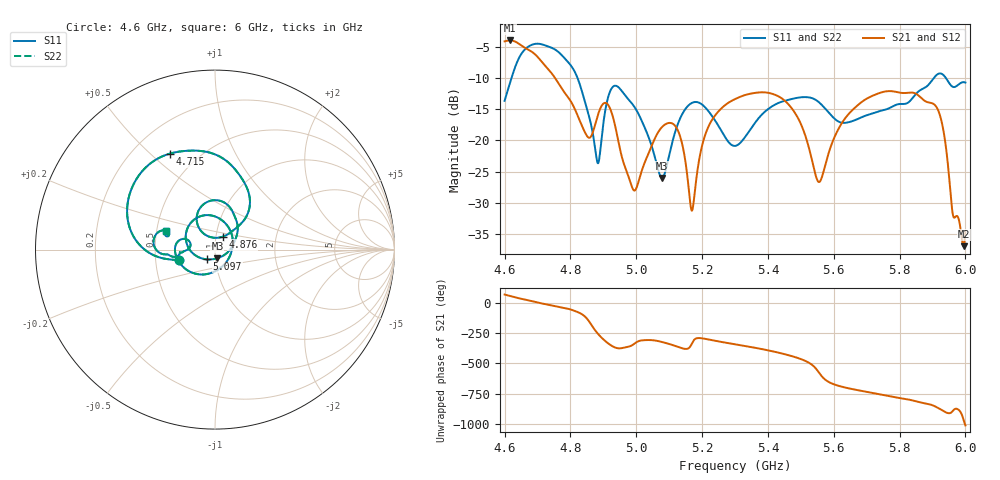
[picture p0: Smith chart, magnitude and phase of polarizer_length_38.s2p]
! TOUCHSTONE file generated by CST MICROWAVE STUDIO
! Date and time: Sun Dec  1 17:16:55 2024
! Project name: test_tuning.cst
! Parameters = {airCoaxOuterDiameter=3; chamferAngle=45; chamferWidth=24; connectorLength=10; drillingHoleDiameter=4.1; feedLength=60; flareDiameter=130; flareLength=70; gratingDistance=0; gratingGap=1.90274; outletLength=30; polarizerLength=138; probe1Diameter=1.3; probe1Distance=14; probe1Length=1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
! Header version: 2024
! Port assignment regex: !\s*Touchstone port\s*([0-9]+)\s*=\s*(CST MWS port|CST DES external port|CST DES block port)\s*(.+)\s* \(\"(.*)\"\)(\s*mode\s*([0-9]+))?.*
! Touchstone port assignment:
! Touchstone port 1 = CST MWS port 1 ("Input1")
! Touchstone port 2 = CST MWS port 2 ("Input2")
# GHz S MA R 50
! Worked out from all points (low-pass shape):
!   1001 points, 4.6 GHz to 6 GHz, reference 50 ohm
!   highest |S21| = -3.91 dB at 4.617 GHz (marker M1); lowest = -37.0 dB at 5.994 GHz (marker M2)
!   |S21| within 3 dB of the highest: start of sweep to 4.706 GHz
!   lowest |S11| = -26.0 dB at 5.079 GHz (marker M3), VSWR 1.11, Z = 51.1 - j4.93 ohm
!   |S11| at or under -10 dB: start of sweep to 4.62065 GHz; 4.822 GHz to 5.903 GHz (1.082 GHz wide, 20.2 % of centre); 5.941 GHz to end of sweep
!   |S22| runs from -26.0 to -4.4 dB; largest |S21 - S12| = 1.2e-06
!   S11 on the Smith chart (normalised r, x): 4.6 GHz: 0.66, -0.08; 4.715 GHz: 0.35, +0.58; 4.876 GHz: 1.08, +0.16; 5.097 GHz: 0.91, -0.10; 6 GHz: 0.56, +0.13
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4.6  0.2084 -163.8  0.6268 67.5  0.6268 67.5  0.2084 -163.8
4.6168  0.2931 -170.4  0.6373 55.9  0.6373 55.9  0.2931 -170.4
4.7148  0.5913 115.4  0.4227 -6.6  0.4227 -6.6  0.5913 115.4
4.8338  0.2545 46.6  0.1333 -92.8  0.1333 -92.8  0.2545 46.6
4.8758  0.08307 59.4  0.1362 130.2  0.1362 130.2  0.08307 59.4
4.9402  0.2743 85.2  0.1158 -12.7  0.1158 -12.7  0.2743 85.2
4.9948  0.1855 47.5  0.03951 23.7  0.03951 23.7  0.1855 47.5
5.0676  0.05675 -36.7  0.1177 43.5  0.1177 43.5  0.05675 -36.7
5.0788  0.04994 -74.3  0.1286 36.3  0.1286 36.3  0.04994 -74.3
5.097  0.07022 -129.1  0.1379 22.9  0.1379 22.9  0.07022 -129.1
5.1348  0.1535 172.8  0.1045 -11.4  0.1045 -11.4  0.1535 172.8
5.1698  0.2008 132.6  0.02729 28.5  0.02729 28.5  0.2008 132.6
5.216  0.1762 82.9  0.1233 59.2  0.1233 59.2  0.1762 82.9
5.3  0.09037 -26.5  0.215 17.6  0.215 17.6  0.09037 -26.5
5.447  0.2068 -156.5  0.2133 -61.0  0.2133 -61.0  0.2068 -156.5
5.5338  0.2191 172.1  0.06956 -150.9  0.06956 -150.9  0.2191 172.1
5.5576  0.2001 163.8  0.04659 135.6  0.04659 135.6  0.2001 163.8
5.6374  0.1388 172.4  0.1541 19.9  0.1541 19.9  0.1388 172.4
5.7676  0.1812 -175.5  0.2494 -48.8  0.2494 -48.8  0.1812 -175.5
5.9146  0.3396 176.5  0.1806 -142.9  0.1806 -142.9  0.3396 176.5
5.9944  0.2943 160.9  0.0141 115.2  0.0141 115.2  0.2943 160.9
6  0.2922 159.1  0.01857 69.4  0.01857 69.4  0.2922 159.1
